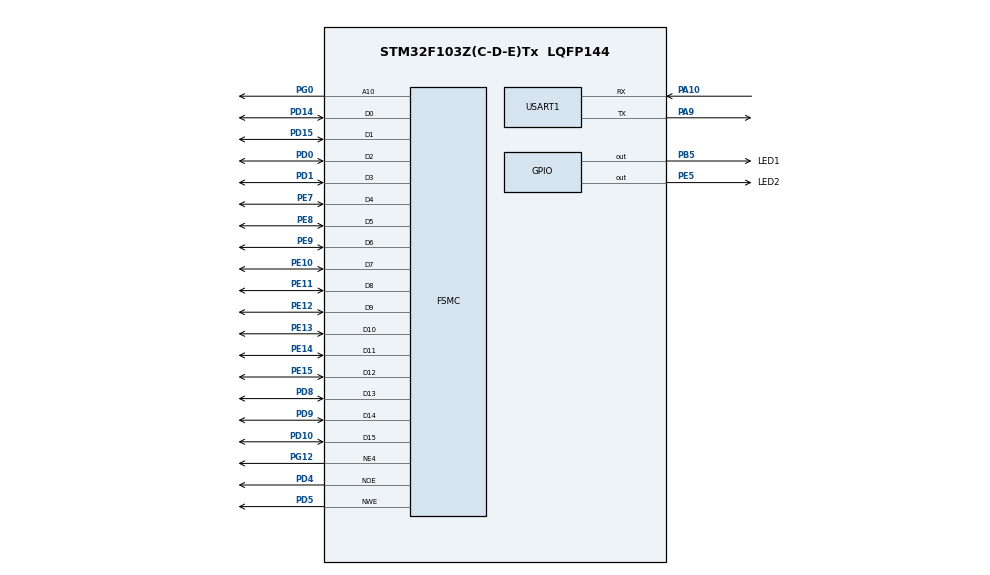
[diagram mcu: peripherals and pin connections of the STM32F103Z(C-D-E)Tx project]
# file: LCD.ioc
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FSMC.AddressSetupTime4=6
FSMC.BusTurnAroundDuration4=0
FSMC.DataSetupTime4=26
FSMC.ExtendedAddressSetupTime4=3
FSMC.ExtendedBusTurnAroundDuration4=0
FSMC.ExtendedDataSetupTime4=6
FSMC.ExtendedMode4=FSMC_EXTENDED_MODE_ENABLE
Mcu.Family=STM32F1
Mcu.Name=STM32F103Z(C-D-E)Tx
Mcu.Package=LQFP144
NVIC.PriorityGroup=NVIC_PRIORITYGROUP_4
NVIC.USART1_IRQn=true\:0\:0\:false\:false\:true\:true\:true\:true
OSC_IN.Mode=HSE-External-Oscillator
OSC_IN.Signal=RCC_OSC_IN
OSC_OUT.Mode=HSE-External-Oscillator
OSC_OUT.Signal=RCC_OSC_OUT
PA10.Mode=Asynchronous
PA10.Signal=USART1_RX
PA9.Mode=Asynchronous
PA9.Signal=USART1_TX
PB5.GPIO_Label=LED1
PB5.GPIO_Speed=GPIO_SPEED_FREQ_HIGH
PB5.Signal=GPIO_Output
PC14-OSC32_IN.Mode=LSE-External-Oscillator
PC14-OSC32_IN.Signal=RCC_OSC32_IN
PC15-OSC32_OUT.Mode=LSE-External-Oscillator
PC15-OSC32_OUT.Signal=RCC_OSC32_OUT
PD0.Signal=FSMC_D2_DA2
PD1.Signal=FSMC_D3_DA3
PD10.Signal=FSMC_D15_DA15
PD14.Signal=FSMC_D0_DA0
PD15.Signal=FSMC_D1_DA1
PD4.Signal=FSMC_NOE
PD5.Signal=FSMC_NWE
PD8.Signal=FSMC_D13_DA13
PD9.Signal=FSMC_D14_DA14
PE10.Signal=FSMC_D7_DA7
PE11.Signal=FSMC_D8_DA8
PE12.Signal=FSMC_D9_DA9
PE13.Signal=FSMC_D10_DA10
PE14.Signal=FSMC_D11_DA11
PE15.Signal=FSMC_D12_DA12
PE5.GPIO_Label=LED2
PE5.GPIO_Speed=GPIO_SPEED_FREQ_HIGH
PE5.Signal=GPIO_Output
PE7.Signal=FSMC_D4_DA4
PE8.Signal=FSMC_D5_DA5
PE9.Signal=FSMC_D6_DA6
PG0.Signal=FSMC_A10
PG12.Mode=NorPsramChipSelect4_4
PG12.Signal=FSMC_NE4
ProjectManager.HeapSize=0x200
ProjectManager.StackSize=0x400
ProjectManager.TargetToolchain=STM32CubeIDE
RCC.APB1Freq_Value=8000000
RCC.APB2Freq_Value=8000000
SH.FSMC_A10.0=FSMC_A10,A10_4
SH.FSMC_D0_DA0.0=FSMC_D0,16b-d4
SH.FSMC_D10_DA10.0=FSMC_D10,16b-d4
SH.FSMC_D11_DA11.0=FSMC_D11,16b-d4
SH.FSMC_D12_DA12.0=FSMC_D12,16b-d4
SH.FSMC_D13_DA13.0=FSMC_D13,16b-d4
SH.FSMC_D14_DA14.0=FSMC_D14,16b-d4
SH.FSMC_D15_DA15.0=FSMC_D15,16b-d4
SH.FSMC_D1_DA1.0=FSMC_D1,16b-d4
SH.FSMC_D2_DA2.0=FSMC_D2,16b-d4
SH.FSMC_D3_DA3.0=FSMC_D3,16b-d4
SH.FSMC_D4_DA4.0=FSMC_D4,16b-d4
SH.FSMC_D5_DA5.0=FSMC_D5,16b-d4
SH.FSMC_D6_DA6.0=FSMC_D6,16b-d4
SH.FSMC_D7_DA7.0=FSMC_D7,16b-d4
SH.FSMC_D8_DA8.0=FSMC_D8,16b-d4
SH.FSMC_D9_DA9.0=FSMC_D9,16b-d4
SH.FSMC_NOE.0=FSMC_NOE,Lcd4
SH.FSMC_NWE.0=FSMC_NWE,Lcd4
USART1.VirtualMode=VM_ASYNC
board=custom

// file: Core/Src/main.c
/* USER CODE BEGIN Header */
/**
  ******************************************************************************
  * @file           : main.c
  * @brief          : Main program body
  ******************************************************************************
  * @attention
  *
  * Copyright (c) 2023 STMicroelectronics.
  * All rights reserved.
  *
  * This software is licensed under terms that can be found in the LICENSE file
  * in the root directory of this software component.
  * If no LICENSE file comes with this software, it is provided AS-IS.
  *
  ******************************************************************************
  */
/* USER CODE END Header */
#include "main.h"
#include "usart.h"
#include "gpio.h"
#include "fsmc.h"

/* USER CODE BEGIN Includes */
#include "stdio.h"
#include "lcd.h"
/* USER CODE END Includes */

void SystemClock_Config(void);

int main(void)
{
  /* USER CODE BEGIN 1 */
	int x = 0;
	u8 lcd_id[12];						//存放LCD ID字符�?
  /* USER CODE END 1 */

  /* MCU Configuration--------------------------------------------------------*/

  /* Reset of all peripherals, Initializes the Flash interface and the Systick. */
  HAL_Init();

  /* Configure the system clock */
  SystemClock_Config();

  /* Initialize all configured peripherals */
  MX_GPIO_Init();
  MX_USART1_UART_Init();
  MX_FSMC_Init();
  /* USER CODE BEGIN 2 */
  LCD_Init();
  POINT_COLOR=RED;     				//画笔颜色：红�?
  sprintf((char*)lcd_id,"LCD ID:%04X",lcddev.id);//将LCD ID打印到lcd_id数组�?
  /* USER CODE END 2 */

  /* Infinite loop */
  /* USER CODE BEGIN WHILE */
	while (1)
	{
//		HAL_GPIO_TogglePin(LED1_GPIO_Port,LED1_Pin);
//		HAL_GPIO_TogglePin(LED2_GPIO_Port,LED2_Pin);
//		HAL_Delay(500);
//		HAL_GPIO_TogglePin(LED1_GPIO_Port,LED1_Pin);
//		HAL_GPIO_TogglePin(LED2_GPIO_Port,LED2_Pin);
//		HAL_Delay(500);
		switch(x)
		{
			case 0:LCD_Clear(WHITE);break;
			case 1:LCD_Clear(BLACK);break;
			case 2:LCD_Clear(BLUE);break;
			case 3:LCD_Clear(RED);break;
			case 4:LCD_Clear(MAGENTA);break;
			case 5:LCD_Clear(GREEN);break;
			case 6:LCD_Clear(CYAN);break;
			case 7:LCD_Clear(YELLOW);break;
			case 8:LCD_Clear(BRRED);break;
			case 9:LCD_Clear(GRAY);break;
			case 10:LCD_Clear(LGRAY);break;
			case 11:LCD_Clear(BROWN);break;
		}
		POINT_COLOR=RED;
		LCD_ShowString(30,40,210,24,24,"WarShip STM32 ^_^");
		LCD_ShowString(30,70,200,16,16,"TFTLCD TEST");
		LCD_ShowString(30,90,200,16,16,"ATOM@ALIENTEK");
		LCD_ShowString(30,110,200,16,16,lcd_id);		//显示LCD ID
		LCD_ShowString(30,130,200,12,12,"2017/5/27");
		x++;
		if(x==12)x=0;
		printf("test\n\r");
    /* USER CODE END WHILE */

  }
}

void SystemClock_Config(void)
{
  RCC_OscInitTypeDef RCC_OscInitStruct = {0};
  RCC_ClkInitTypeDef RCC_ClkInitStruct = {0};

  /** Initializes the RCC Oscillators according to the specified parameters
  * in the RCC_OscInitTypeDef structure.
  */
  RCC_OscInitStruct.OscillatorType = RCC_OSCILLATORTYPE_HSI;
  RCC_OscInitStruct.HSIState = RCC_HSI_ON;
  RCC_OscInitStruct.HSICalibrationValue = RCC_HSICALIBRATION_DEFAULT;
  RCC_OscInitStruct.PLL.PLLState = RCC_PLL_NONE;
  if (HAL_RCC_OscConfig(&RCC_OscInitStruct) != HAL_OK)
  {
    Error_Handler();
  }

  /** Initializes the CPU, AHB and APB buses clocks
  */
  RCC_ClkInitStruct.ClockType = RCC_CLOCKTYPE_HCLK|RCC_CLOCKTYPE_SYSCLK
                              |RCC_CLOCKTYPE_PCLK1|RCC_CLOCKTYPE_PCLK2;
  RCC_ClkInitStruct.SYSCLKSource = RCC_SYSCLKSOURCE_HSI;
  RCC_ClkInitStruct.AHBCLKDivider = RCC_SYSCLK_DIV1;
  RCC_ClkInitStruct.APB1CLKDivider = RCC_HCLK_DIV1;
  RCC_ClkInitStruct.APB2CLKDivider = RCC_HCLK_DIV1;

  if (HAL_RCC_ClockConfig(&RCC_ClkInitStruct, FLASH_LATENCY_0) != HAL_OK)
  {
    Error_Handler();
  }
}

void Error_Handler(void)
{
  __disable_irq();
  while (1)
  {
  }
}
